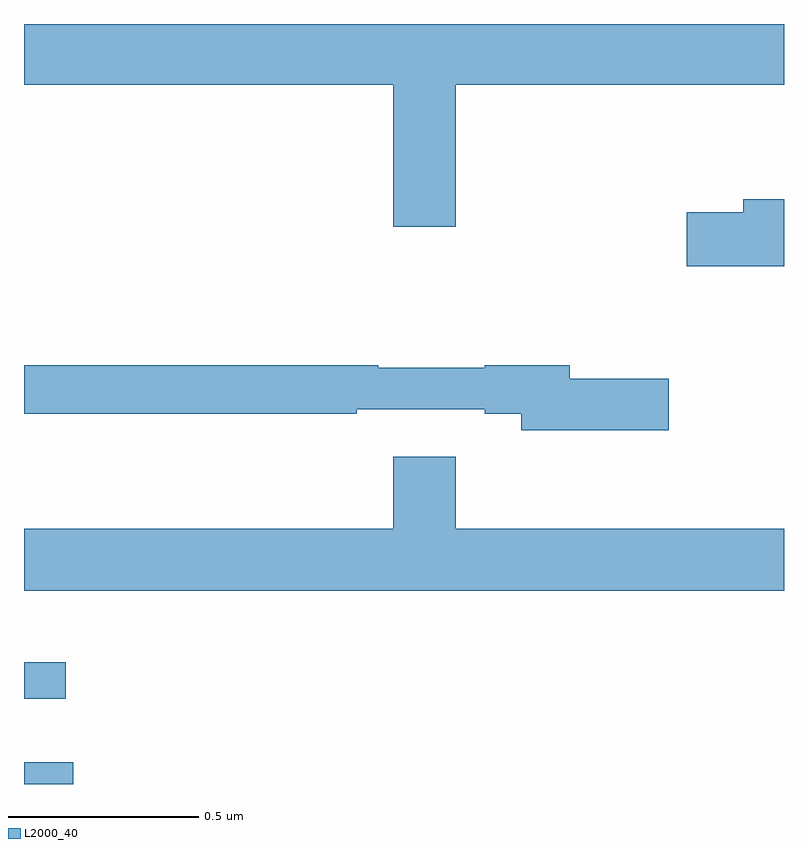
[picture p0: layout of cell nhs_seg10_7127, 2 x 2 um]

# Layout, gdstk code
import gdstk
lib = gdstk.Library(unit=1e-6, precision=1e-09)
def R(c, l, rs):  # rectangles x0, y0, x1, y1
    for r in rs: c.add(gdstk.rectangle(r[:2], r[2:], *l))
def P(c, l, *ps):  # polygons
    for p in ps: c.add(gdstk.Polygon(p, *l))
L2000_40 = (2000, 40)

nhs_seg10_7127 = lib.new_cell('nhs_seg10_7127')
R(nhs_seg10_7127, L2000_40, [(200,1274.5,200.129,1274.557), (200,1274.724,200.11,1274.82)])
P(nhs_seg10_7127, L2000_40, [(201.136,1276.34),(202,1276.34),(202,1276.5),(200,1276.5),(200,1276.34),(200.972,1276.34),(200.972,1275.966),(201.136,1275.966)],
  [(202,1276.039),(201.893,1276.039),(201.893,1276.005),(201.744,1276.005),(201.744,1275.863),(202,1275.863)],
  [(201.697,1275.566),(201.436,1275.566),(201.436,1275.602),(201.212,1275.602),(201.212,1275.595),(200.932,1275.595),(200.932,1275.602),(200,1275.602),(200,1275.474),(200.876,1275.474),(200.876,1275.486),(201.212,1275.486),(201.212,1275.474),(201.308,1275.474),(201.308,1275.431),(201.697,1275.431)],
  [(202,1275.172),(201.136,1275.172),(201.136,1275.361),(200.972,1275.361),(200.972,1275.172),(200,1275.172),(200,1275.008),(202,1275.008)])

lib.write_gds('nhs_seg10_7127.gds')
